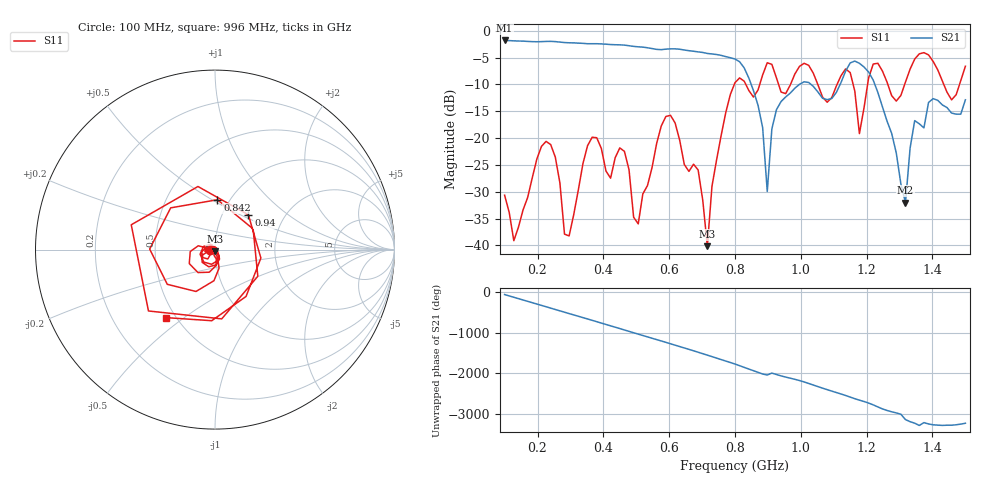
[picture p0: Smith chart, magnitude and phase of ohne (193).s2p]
! NanoVNA-App
! Date: 2025-09-25 14:22:18
! Start: 100MHz Stop: 1,5GHz Points: 101
! S-Parameter data: F S11 S21 S12 S22
# Hz S RI R 50
!  Frequency  S11_Real  S11_Imag  S21_Real  S21_Imag  S12_Real  S12_Imag  S22_Real  S22_Imag
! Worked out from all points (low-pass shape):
!   101 points, 100 MHz to 1.5 GHz, reference 50 ohm
!   highest |S21| = -1.79 dB at 100 MHz (marker M1); lowest = -32.0 dB at 1.318 GHz (marker M2)
!   |S21| within 3 dB of the highest: start of sweep to 771.3 MHz
!   lowest |S11| = -40.1 dB at 716 MHz (marker M3), VSWR 1.02, Z = 49.8 - j0.969 ohm
!   |S11| at or under -10 dB: start of sweep to 797.8 MHz; 833 MHz to 875.1 MHz (42.16 MHz wide, 4.94 % of centre); 1.052 GHz to 1.11 GHz (58.31 MHz wide, 5.39 % of centre) (the widest 3 of 7)
!   S12 and S22 are empty: the file has one direction only
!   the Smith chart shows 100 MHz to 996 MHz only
!   S11 on the Smith chart (normalised r, x): 100 MHz: 0.94, -0.01; 842 MHz: 0.88, +0.53; 940 MHz: 1.32, +0.55; 996 MHz: 0.44, -0.43
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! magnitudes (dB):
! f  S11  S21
! 100 MHz  -30.6  -1.8
! 128 MHz  -39.1  -1.9
! 226 MHz  -20.6  -2.0
! 296 MHz  -38.2  -2.2
! 338 MHz  -24.7  -2.3
! 464 MHz  -22.5  -2.7
! 506 MHz  -36.0  -3.0
! 576 MHz  -17.7  -3.5
! 688 MHz  -25.9  -3.9
! 716 MHz  -40.1  -4.2
! 800 MHz  -9.7  -5.3
! 842 MHz  -11.1  -8.8
! 898 MHz  -5.9  -29.9
! 940 MHz  -11.4  -13.2
! 996 MHz  -6.6  -10.0
! 1.038 GHz  -7.9  -10.4
! 1.178 GHz  -19.2  -6.0
! 1.22 GHz  -6.2  -9.2
! 1.276 GHz  -12.1  -19.1
! 1.318 GHz  -9.5  -32.0
! 1.346 GHz  -5.3  -16.7
! 1.5 GHz  -6.6  -12.9
